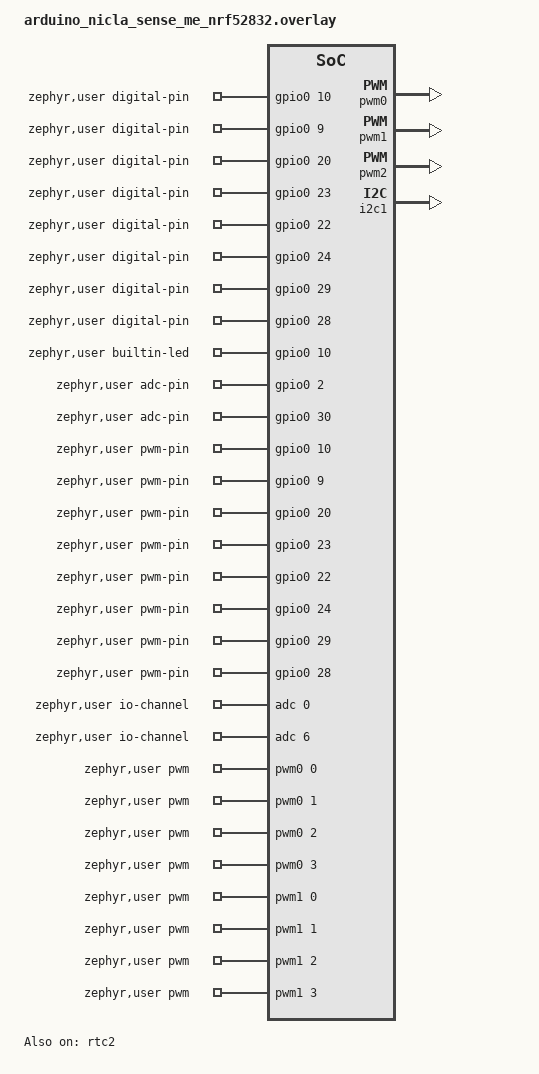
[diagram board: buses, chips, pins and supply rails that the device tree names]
/*
 * Copyright (c) Arduino s.r.l. and/or its affiliated companies
 *
 * SPDX-License-Identifier: Apache-2.0
 */

/delete-node/ &slot0_partition;
/delete-node/ &slot1_partition;
/delete-node/ &scratch_partition;
/delete-node/ &storage_partition;

&flash0 {
	partitions {
		slot0_partition: partition@10000 {
			compatible = "zephyr,mapped-partition";
			label = "image-0";
			reg = < 0x10000 0x60000 >;
		};

		user_sketch: partition@70000 {
			compatible = "zephyr,mapped-partition";
			label = "user";
			reg = <0x070000 0x10000>;
		};
	};
};

&rtc2 {
    status = "okay";
    clock-frequency = <32768>;
    prescaler = <1>;  // Optional: sets the RTC tick to ~30.5 µs
};

&adc {
	zephyr,deferred-init;
};

&pinctrl {
	empty_default: empty_default {
		group1 {
			psels = <>;
		};
	};

	pwm1_default: pwm1_default {
		group1 {
			psels = <NRF_PSEL(PWM_OUT0, 0, 10)>,
				<NRF_PSEL(PWM_OUT1, 0, 9)>,
				<NRF_PSEL(PWM_OUT2, 0, 20)>,
				<NRF_PSEL(PWM_OUT3, 0, 23)>;
				nordic,invert;
		};
	};

	pwm1_sleep: pwm1_sleep {
		group1 {
			psels = <NRF_PSEL(PWM_OUT0, 0, 10)>,
				<NRF_PSEL(PWM_OUT1, 0, 9)>,
				<NRF_PSEL(PWM_OUT2, 0, 20)>,
				<NRF_PSEL(PWM_OUT3, 0, 23)>;
				low-power-enable;
		};
	};

	pwm2_default: pwm2_default {
		group1 {
			psels = <NRF_PSEL(PWM_OUT0, 0, 22)>,
				<NRF_PSEL(PWM_OUT1, 0, 24)>,
				<NRF_PSEL(PWM_OUT2, 0, 29)>,
				<NRF_PSEL(PWM_OUT3, 0, 28)>;
				nordic,invert;
		};
	};

	pwm2_sleep: pwm2_sleep {
		group1 {
			psels = <NRF_PSEL(PWM_OUT0, 0, 22)>,
				<NRF_PSEL(PWM_OUT1, 0, 24)>,
				<NRF_PSEL(PWM_OUT2, 0, 29)>,
				<NRF_PSEL(PWM_OUT3, 0, 28)>;
				low-power-enable;
		};
	};

	pwm3_default: pwm3_default {
		group1 {
			psels = <NRF_PSEL(PWM_OUT0, 0, 27)>,
				<NRF_PSEL(PWM_OUT1, 0, 11)>,
				<NRF_PSEL(PWM_OUT2, 0, 2)>,
				<NRF_PSEL(PWM_OUT3, 0, 30)>;
				nordic,invert;
		};
	};

	pwm3_sleep: pwm3_sleep {
		group1 {
			psels = <NRF_PSEL(PWM_OUT0, 0, 27)>, /* keep original config */
				<NRF_PSEL(PWM_OUT1, 0, 11)>,
				<NRF_PSEL(PWM_OUT2, 0, 2)>,
				<NRF_PSEL(PWM_OUT3, 0, 30)>;
				low-power-enable;
		};
	};
};

&pwm0 {
	status = "okay";
	zephyr,deferred-init;
	pinctrl-0 = <&empty_default>;
	pinctrl-1 = <&pwm1_sleep>;
	pinctrl-2 = <&pwm1_default>;
	pinctrl-names = "default", "sleep", "arduino";
};

&pwm1 {
	status = "okay";
	zephyr,deferred-init;
	pinctrl-0 = <&empty_default>;
	pinctrl-1 = <&pwm2_sleep>;
	pinctrl-2 = <&pwm2_default>;
	pinctrl-names = "default", "sleep", "arduino";
};

&pwm2 {
	status = "okay";
	zephyr,deferred-init;
	pinctrl-0 = <&empty_default>;
	pinctrl-1 = <&pwm3_sleep>;
	pinctrl-2 = <&pwm3_default>;
	pinctrl-names = "default", "sleep", "arduino";
};

&i2c1 {
	status = "okay";
	zephyr,deferred-init;
};

/ {
	zephyr,user {
		digital-pin-gpios = <&gpio0 10 0>,		// 0: GPIO3
				    <&gpio0 9 0>,				// 1: GPIO2/RX
				    <&gpio0 20 0>,				// 2: GPIO1/TX
				    <&gpio0 23 0>,				// 3: SCL1
				    <&gpio0 22 0>,				// 4: SDA1
				    <&gpio0 24 0>,				// 5: GPIO0
				    <&gpio0 29 0>,				// 6: CS
				    <&gpio0 28 0>,				// 7: CIPO
				    <&gpio0 27 0>,				// 8: COPI
				    <&gpio0 11 0>,				// 9: SCLK
				    <&gpio0 2 0>,				// 10: A0
				    <&gpio0 30 0>,				// 11: A1
				    <&gpio0 19 0>,				// 12: INT ESLOV
				    <&gpio0 18 0>,				// 13: Reset BHI260
				    <&gpio0 14 0>,				// 14: INT BHI260
				    <&gpio0 25 0>,				// 15: BQ25120 CD
				    <&gpio0 26 0>,				// 16: CS FLASH
				    <&gpio0 31 0>;				// 17: CS BHI260

		builtin-led-gpios = <&gpio0 10 0>;		// TODO: fixme: use real i2c led (will need some magic like PureAnalog)

		adc-pin-gpios = <&gpio0 2 0>,				// 10: A0 (AIN0)
				<&gpio0 30 0>;				// 11: A1 (AIN6)

		io-channels =	<&adc 0>,
				<&adc 6>;

		pwm-pin-gpios =	    <&gpio0 10 0>,
				    <&gpio0 9 0>,
				    <&gpio0 20 0>,
				    <&gpio0 23 0>,
				    <&gpio0 22 0>,
				    <&gpio0 24 0>,
				    <&gpio0 29 0>,
				    <&gpio0 28 0>,
				    <&gpio0 27 0>,
				    <&gpio0 11 0>,
				    <&gpio0 2 0>,
				    <&gpio0 30 0>;
		

		pwms =	<&pwm0 0 PWM_HZ(500) PWM_POLARITY_NORMAL>,
			<&pwm0 1 PWM_HZ(500) PWM_POLARITY_NORMAL>,
			<&pwm0 2 PWM_HZ(500) PWM_POLARITY_NORMAL>,
			<&pwm0 3 PWM_HZ(500) PWM_POLARITY_NORMAL>,
			<&pwm1 0 PWM_HZ(500) PWM_POLARITY_NORMAL>,
			<&pwm1 1 PWM_HZ(500) PWM_POLARITY_NORMAL>,
			<&pwm1 2 PWM_HZ(500) PWM_POLARITY_NORMAL>,
			<&pwm1 3 PWM_HZ(500) PWM_POLARITY_NORMAL>,
			<&pwm2 0 PWM_HZ(500) PWM_POLARITY_NORMAL>,
			<&pwm2 1 PWM_HZ(500) PWM_POLARITY_NORMAL>,
			<&pwm2 2 PWM_HZ(500) PWM_POLARITY_NORMAL>,
			<&pwm2 3 PWM_HZ(500) PWM_POLARITY_NORMAL>;

		serials = <&uart0>;
		i2cs = <&i2c1>;
		// spis = <&spi0>; // conflicts with uart0 (same peripheral)
	};
};
